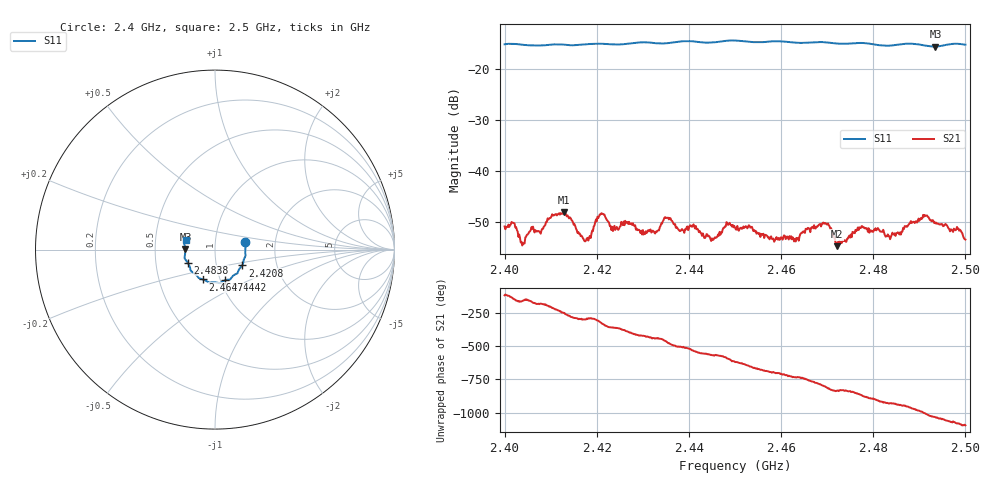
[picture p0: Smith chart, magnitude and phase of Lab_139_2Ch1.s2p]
# Hz S RI R 50
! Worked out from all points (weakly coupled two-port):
!   601 points, 2.4 GHz to 2.5 GHz, reference 50 ohm
!   highest |S21| = -48.06 dB at 2.4128 GHz (marker M1); lowest = -54.7 dB at 2.4722 GHz (marker M2)
!   lowest |S11| = -15.6 dB at 2.4935 GHz (marker M3), VSWR 1.40, Z = 35.8 + j0.193 ohm
!   |S11| at or under -10 dB: start of sweep to end of sweep
!   S12 and S22 are empty: the file has one direction only
!   S11 on the Smith chart (normalised r, x): 2.4 GHz: 1.40, +0.12; 2.4208 GHz: 1.33, -0.24; 2.4442 GHz: 1.05, -0.37; 2.4647 GHz: 0.83, -0.29; 2.4838 GHz: 0.73, -0.11; 2.5 GHz: 0.71, +0.08
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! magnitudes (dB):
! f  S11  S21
! 2.4 GHz  -15.2  -50.9
! 2.402 GHz  -15.1  -50.2
! 2.404 GHz  -15.3  -54.1
! 2.4128 GHz  -15.3  -48.1
! 2.4167 GHz  -15.3  -52.7
! 2.4182 GHz  -15.2  -53.6
! 2.4208 GHz  -15.1  -48.5
! 2.4237 GHz  -15.2  -51.2
! 2.4333 GHz  -15.0  -51.6
! 2.4353 GHz  -15.0  -49.2
! 2.4442 GHz  -14.9  -52.8
! 2.45 GHz  -14.5  -51.1
! 2.4647 GHz  -14.9  -52.1
! 2.4667 GHz  -14.8  -51.1
! 2.47 GHz  -14.9  -50.5
! 2.4722 GHz  -15.1  -54.7
! 2.4775 GHz  -15.0  -50.8
! 2.4833 GHz  -15.5  -52.7
! 2.4838 GHz  -15.5  -52.9
! 2.4912 GHz  -15.4  -48.6
! 2.4935 GHz  -15.6  -50.3
! 2.5 GHz  -15.3  -53.4
